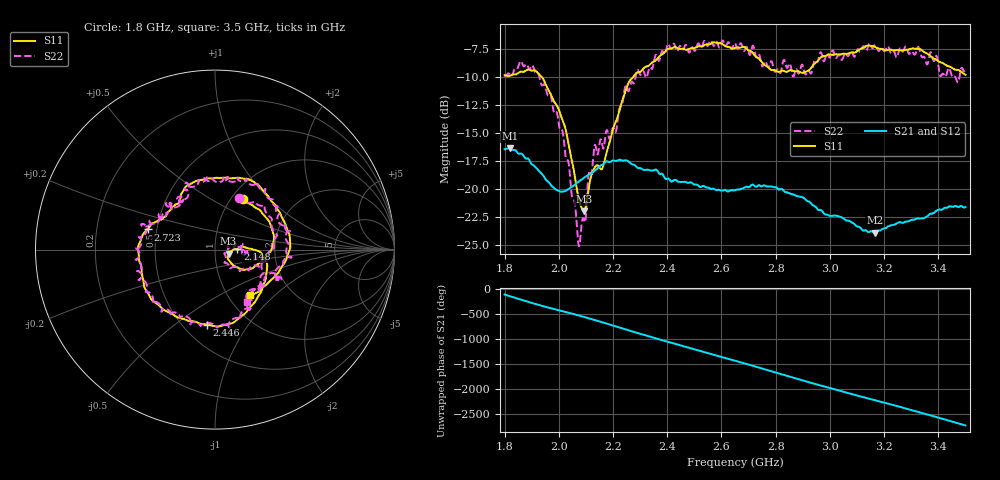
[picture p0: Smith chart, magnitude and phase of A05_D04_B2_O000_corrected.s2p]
! Created with skrf 1.9.0 (http://scikit-rf.org).
# Hz S RI R 50.0
!freq ReS11 ImS11 ReS21 ImS21 ReS12 ImS12 ReS22 ImS22
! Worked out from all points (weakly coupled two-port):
!   1601 points, 1.8 GHz to 3.5 GHz, reference 50 ohm
!   highest |S21| = -16.41 dB at 1.819 GHz (marker M1); lowest = -23.9 dB at 3.165 GHz (marker M2)
!   lowest |S11| = -22.0 dB at 2.092 GHz (marker M3), VSWR 1.17, Z = 58.1 - j2.74 ohm
!   |S11| at or under -10 dB: 1.936 GHz to 2.276 GHz (339.8 MHz wide, 16.1 % of centre)
!   |S22| runs from -25.1 to -6.8 dB; largest |S21 - S12| = 0.0025
!   S11 on the Smith chart (normalised r, x): 1.8 GHz: 1.13, +0.71; 2.148 GHz: 1.29, +0.00; 2.446 GHz: 0.65, -0.66; 2.723 GHz: 0.44, +0.12; 3.5 GHz: 1.26, -0.72
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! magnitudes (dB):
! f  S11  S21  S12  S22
! 1.8 GHz  -9.9  -16.5  -16.5  -9.9
! 1.819 GHz  -9.9  -16.4  -16.4  -9.8
! 1.903 GHz  -9.5  -17.9  -17.9  -9.0
! 1.968 GHz  -11.4  -19.6  -19.6  -11.6
! 2.015 GHz  -14.0  -20.3  -20.3  -15.0
! 2.072 GHz  -20.7  -19.4  -19.4  -24.9
! 2.084 GHz  -21.7  -19.2  -19.2  -23.3
! 2.092 GHz  -22.0  -19.1  -19.1  -22.7
! 2.113 GHz  -19.5  -18.7  -18.7  -18.4
! 2.148 GHz  -18.1  -18.1  -18.0  -16.3
! 2.209 GHz  -14.1  -17.5  -17.5  -15.0
! 2.259 GHz  -10.5  -17.6  -17.6  -11.2
! 2.367 GHz  -8.3  -18.6  -18.5  -8.6
! 2.446 GHz  -7.5  -19.4  -19.4  -7.3
! 2.65 GHz  -7.4  -20.1  -20.1  -7.0
! 2.723 GHz  -8.1  -19.8  -19.7  -7.8
! 2.802 GHz  -9.5  -19.9  -19.9  -9.5
! 2.934 GHz  -9.1  -21.4  -21.4  -9.5
! 3.165 GHz  -7.3  -23.9  -23.9  -7.2
! 3.217 GHz  -7.6  -23.4  -23.3  -7.4
! 3.468 GHz  -9.4  -21.6  -21.6  -10.4
! 3.5 GHz  -9.8  -21.7  -21.6  -9.4
